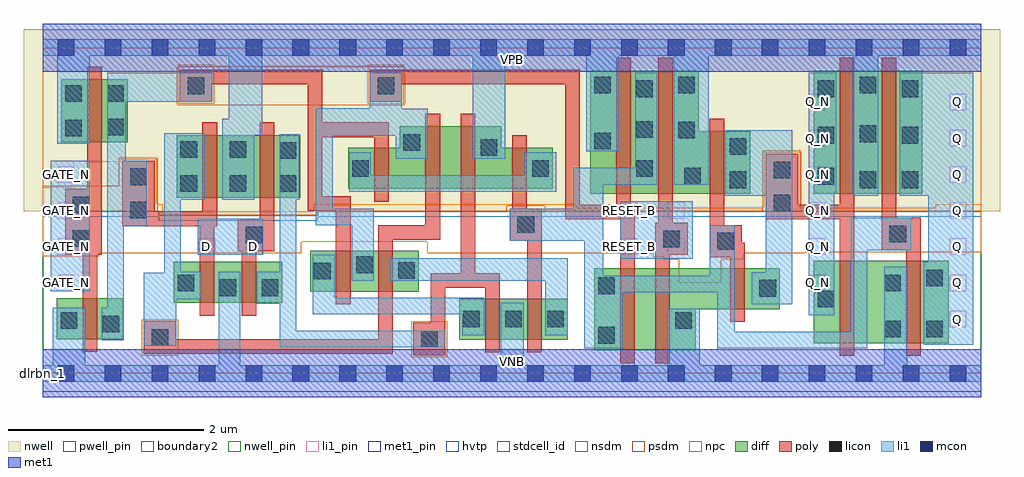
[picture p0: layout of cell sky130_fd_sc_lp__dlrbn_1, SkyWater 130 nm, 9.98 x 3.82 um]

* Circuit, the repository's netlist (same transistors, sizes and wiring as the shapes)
* Copyright 2020 The SkyWater PDK Authors
*
* Licensed under the Apache License, Version 2.0 (the "License");
* you may not use this file except in compliance with the License.
* You may obtain a copy of the License at
*
*     https://www.apache.org/licenses/LICENSE-2.0
*
* Unless required by applicable law or agreed to in writing, software
* distributed under the License is distributed on an "AS IS" BASIS,
* WITHOUT WARRANTIES OR CONDITIONS OF ANY KIND, either express or implied.
* See the License for the specific language governing permissions and
* limitations under the License.
*
* SPDX-License-Identifier: Apache-2.0

.SUBCKT sky130_fd_sc_lp__dlrbn_1 D GATE_N RESET_B VGND VNB VPB VPWR Q Q_N
*.PININFO D:I GATE_N:I RESET_B:I VGND:I VNB:I VPB:I VPWR:I Q:O Q_N:O
MI635 clkneg clkpos VPWR VPB sky130_fd_pr__pfet_01v8_hvt m=1 w=0.64U l=0.15U mult=1
+ sa=0.265 sb=0.265 sd=0.28 area=0.063 perim=1.14
MI648 Q_N net79 VPWR VPB sky130_fd_pr__pfet_01v8_hvt m=1 w=1.26U l=0.15U mult=1
+ sa=0.265 sb=0.265 sd=0.28 area=0.063 perim=1.14
MI17 M0 clkneg net51 VPB sky130_fd_pr__pfet_01v8_hvt m=1 w=0.64U l=0.15U mult=1
+ sa=0.265 sb=0.265 sd=0.28 area=0.063 perim=1.14
MI646 net79 m1 VPWR VPB sky130_fd_pr__pfet_01v8_hvt m=1 w=0.64U l=0.15U mult=1
+ sa=0.265 sb=0.265 sd=0.28 area=0.063 perim=1.14
MI650 Q m1 VPWR VPB sky130_fd_pr__pfet_01v8_hvt m=1 w=1.26U l=0.15U mult=1 sa=0.265
+ sb=0.265 sd=0.28 area=0.063 perim=1.14
MI633 clkpos GATE_N VPWR VPB sky130_fd_pr__pfet_01v8_hvt m=1 w=0.64U l=0.15U mult=1
+ sa=0.265 sb=0.265 sd=0.28 area=0.063 perim=1.14
MI658 m1 RESET_B VPWR VPB sky130_fd_pr__pfet_01v8_hvt m=1 w=1.26U l=0.15U mult=1
+ sa=0.265 sb=0.265 sd=0.28 area=0.063 perim=1.14
MI18 net51 db VPWR VPB sky130_fd_pr__pfet_01v8_hvt m=1 w=0.64U l=0.15U mult=1 sa=0.265
+ sb=0.265 sd=0.28 area=0.063 perim=1.14
MI653 net59 m1 VPWR VPB sky130_fd_pr__pfet_01v8_hvt m=1 w=0.42U l=0.15U mult=1
+ sa=0.265 sb=0.265 sd=0.28 area=0.063 perim=1.14
MI651 M0 clkpos net59 VPB sky130_fd_pr__pfet_01v8_hvt m=1 w=0.42U l=0.15U mult=1
+ sa=0.265 sb=0.265 sd=0.28 area=0.063 perim=1.14
MI655 m1 M0 VPWR VPB sky130_fd_pr__pfet_01v8_hvt m=1 w=1.26U l=0.15U mult=1 sa=0.265
+ sb=0.265 sd=0.28 area=0.063 perim=1.14
MI638 db D VPWR VPB sky130_fd_pr__pfet_01v8_hvt m=1 w=0.64U l=0.15U mult=1 sa=0.265
+ sb=0.265 sd=0.28 area=0.063 perim=1.14
MI634 clkpos GATE_N VGND VNB sky130_fd_pr__nfet_01v8 m=1 w=0.42U l=0.15U mult=1
+ sa=0.265 sb=0.265 sd=0.28 area=0.063 perim=1.14
MI647 Q_N net79 VGND VNB sky130_fd_pr__nfet_01v8 m=1 w=0.84U l=0.15U mult=1 sa=0.265
+ sb=0.265 sd=0.28 area=0.063 perim=1.14
MI649 Q m1 VGND VNB sky130_fd_pr__nfet_01v8 m=1 w=0.84U l=0.15U mult=1 sa=0.265
+ sb=0.265 sd=0.28 area=0.063 perim=1.14
MI645 net79 m1 VGND VNB sky130_fd_pr__nfet_01v8 m=1 w=0.42U l=0.15U mult=1 sa=0.265
+ sb=0.265 sd=0.28 area=0.063 perim=1.14
MI657 net86 RESET_B VGND VNB sky130_fd_pr__nfet_01v8 m=1 w=0.84U l=0.15U mult=1
+ sa=0.265 sb=0.265 sd=0.28 area=0.063 perim=1.14
MI652 M0 clkneg net102 VNB sky130_fd_pr__nfet_01v8 m=1 w=0.42U l=0.15U mult=1 sa=0.265
+ sb=0.265 sd=0.28 area=0.063 perim=1.14
MI654 net102 m1 VGND VNB sky130_fd_pr__nfet_01v8 m=1 w=0.42U l=0.15U mult=1 sa=0.265
+ sb=0.265 sd=0.28 area=0.063 perim=1.14
MI656 m1 M0 net86 VNB sky130_fd_pr__nfet_01v8 m=1 w=0.84U l=0.15U mult=1 sa=0.265
+ sb=0.265 sd=0.28 area=0.063 perim=1.14
MI636 clkneg clkpos VGND VNB sky130_fd_pr__nfet_01v8 m=1 w=0.42U l=0.15U mult=1
+ sa=0.265 sb=0.265 sd=0.28 area=0.063 perim=1.14
MI637 db D VGND VNB sky130_fd_pr__nfet_01v8 m=1 w=0.42U l=0.15U mult=1 sa=0.265
+ sb=0.265 sd=0.28 area=0.063 perim=1.14
MI19 M0 clkpos net98 VNB sky130_fd_pr__nfet_01v8 m=1 w=0.42U l=0.15U mult=1 sa=0.265
+ sb=0.265 sd=0.28 area=0.063 perim=1.14
MI20 net98 db VGND VNB sky130_fd_pr__nfet_01v8 m=1 w=0.42U l=0.15U mult=1 sa=0.265
+ sb=0.265 sd=0.28 area=0.063 perim=1.14
.ENDS sky130_fd_sc_lp__dlrbn_1

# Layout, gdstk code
import gdstk
lib = gdstk.Library(unit=1e-6, precision=1e-09)
def R(c, l, rs):  # rectangles x0, y0, x1, y1
    for r in rs: c.add(gdstk.rectangle(r[:2], r[2:], *l))
def A(c, l, x, y, w, h, nx, ny, dx, dy):  # array of equal rectangles
    R(c, l, [(x+i*dx, y+j*dy, x+i*dx+w, y+j*dy+h) for i in range(nx) for j in range(ny)])
def P(c, l, *ps):  # polygons
    for p in ps: c.add(gdstk.Polygon(p, *l))
nwell_pin = (64, 16)
nwell = (64, 20)
diff = (65, 20)
poly = (66, 20)
licon = (66, 44)
li1_pin = (67, 16)
li1 = (67, 20)
mcon = (67, 44)
met1_pin = (68, 16)
met1 = (68, 20)
hvtp = (78, 44)
stdcell_id = (81, 4)
nsdm = (93, 44)
psdm = (94, 20)
npc = (95, 20)
pwell_pin = (122, 16)
boundary2 = (236, 0)

sky130_fd_sc_lp__dlrbn_1 = lib.new_cell('sky130_fd_sc_lp__dlrbn_1')
R(sky130_fd_sc_lp__dlrbn_1, nwell_pin, [(0,3.085,9.6,3.33)])
P(sky130_fd_sc_lp__dlrbn_1, nwell, [(9.79,3.52),(-0.19,3.52),(-0.19,1.655),(1.19,1.655),(1.19,1.615),(2.815,1.615),(2.815,1.655),(9.79,1.655)])
R(sky130_fd_sc_lp__dlrbn_1, diff, [(7.885,0.31,9.265,1.15), (4.26,0.345,5.37,0.765), (0.145,0.35,0.825,0.77), (1.34,0.72,2.45,1.14), (2.735,0.835,3.845,1.255), (1.37,1.795,2.635,2.435), (7.885,1.835,8.995,3.095), (0.19,2.365,0.87,3.005)])
P(sky130_fd_sc_lp__dlrbn_1, diff, [(5.215,2.305),(4.69,2.305),(4.69,2.525),(3.65,2.525),(3.65,2.305),(3.125,2.305),(3.125,1.885),(5.215,1.885)],
  [(7.235,2.475),(6.71,2.475),(6.71,3.095),(5.6,3.095),(5.6,1.835),(7.235,1.835)],
  [(7.54,1.075),(5.64,1.075),(5.64,0.235),(6.68,0.235),(6.68,0.655),(7.54,0.655)])
P(sky130_fd_sc_lp__dlrbn_1, poly, [(0.605,3.135),(0.455,3.135),(0.455,1.885),(0.23,1.885),(0.23,1.215),(0.41,1.215),(0.41,0.22),(0.56,0.22),(0.56,1.215),(0.605,1.215)],
  [(1.785,2.565),(1.635,2.565),(1.635,1.655),(1.145,1.655),(1.145,2.175),(0.815,2.175),(0.815,1.505),(1.605,1.505),(1.605,0.59),(1.755,0.59),(1.755,1.505),(1.785,1.505)],
  [(2.37,2.565),(2.22,2.565),(2.22,1.58),(1.995,1.58),(1.995,1.25),(2.035,1.25),(2.035,0.59),(2.185,0.59),(2.185,1.25),(2.37,1.25)],
  [(3.54,2.565),(2.86,2.565),(2.86,3.105),(1.405,3.105),(1.405,2.775),(1.735,2.775),(1.735,2.955),(2.71,2.955),(2.71,1.66),(3,1.66),(3,0.705),(3.15,0.705),(3.15,1.81),(2.86,1.81),(2.86,2.415),(3.39,2.415),(3.39,1.755),(3.54,1.755)],
  [(4.065,2.655),(3.915,2.655),(3.915,1.515),(3.43,1.515),(3.43,0.35),(1.365,0.35),(1.365,0.53),(1.035,0.53),(1.035,0.2),(3.58,0.2),(3.58,1.365),(4.065,1.365)],
  [(4.675,1.025),(4.425,1.025),(4.425,2.655),(4.275,2.655),(4.275,1.025),(3.97,1.025),(3.97,0.515),(3.79,0.515),(3.79,0.185),(4.12,0.185),(4.12,0.875),(4.525,0.875),(4.525,0.215),(4.675,0.215)],
  [(5.105,1.685),(4.95,1.685),(4.95,2.435),(4.8,2.435),(4.8,1.685),(4.775,1.685),(4.775,1.355),(4.955,1.355),(4.955,0.215),(5.105,0.215)],
  [(6.055,1.725),(6.015,1.725),(6.015,3.225),(5.865,3.225),(5.865,1.725),(5.495,1.725),(5.495,3.105),(3.345,3.105),(3.345,2.775),(3.675,2.775),(3.675,2.955),(5.345,2.955),(5.345,1.575),(5.905,1.575),(5.905,0.105),(6.055,0.105)],
  [(6.595,1.54),(6.445,1.54),(6.445,3.225),(6.295,3.225),(6.295,1.54),(6.265,1.54),(6.265,0.105),(6.415,0.105),(6.415,1.21),(6.595,1.21)],
  [(7.18,1.335),(7.15,1.335),(7.15,1.515),(6.97,1.515),(6.97,2.605),(6.82,2.605),(6.82,1.185),(7.03,1.185),(7.03,0.525),(7.18,0.525)],
  [(8.3,3.225),(8.15,3.225),(8.15,1.725),(7.725,1.725),(7.725,2.245),(7.395,2.245),(7.395,1.575),(8.15,1.575),(8.15,0.18),(8.3,0.18)],
  [(8.98,1.59),(8.73,1.59),(8.73,3.225),(8.58,3.225),(8.58,1.26),(8.83,1.26),(8.83,0.18),(8.98,0.18)])
A(sky130_fd_sc_lp__dlrbn_1, licon, 4.3, 0.47, 0.17, 0.17, 3, 1, 0.43, 0)
R(sky130_fd_sc_lp__dlrbn_1, licon, [(3.87,0.265,4.04,0.435), (1.115,0.28,1.285,0.45), (5.68,0.305,5.85,0.475), (8.605,0.37,8.775,0.54), (9.035,0.37,9.205,0.54), (0.615,0.42,0.785,0.59), (0.185,0.455,0.355,0.625), (6.47,0.455,6.64,0.625), (7.925,0.675,8.095,0.845), (7.33,0.785,7.5,0.955), (1.81,0.79,1.98,0.96), (2.24,0.79,2.41,0.96), (5.68,0.81,5.85,0.98), (1.38,0.84,1.55,1.01), (8.605,0.84,8.775,1.01), (9.035,0.89,9.205,1.06), (2.775,0.96,2.945,1.13), (3.635,0.965,3.805,1.135), (3.205,1.025,3.375,1.195), (6.9,1.265,7.07,1.435), (6.345,1.29,6.515,1.46), (0.31,1.295,0.48,1.465), (2.075,1.33,2.245,1.5), (8.66,1.34,8.83,1.51), (4.855,1.435,5.025,1.605), (0.895,1.585,1.065,1.755), (0.31,1.635,0.48,1.805), (7.475,1.655,7.645,1.825), (1.41,1.855,1.58,2.025), (1.915,1.855,2.085,2.025), (2.425,1.855,2.595,2.025), (7.025,1.895,7.195,2.065), (8.355,1.895,8.525,2.065), (8.785,1.895,8.955,2.065), (0.895,1.925,1.065,2.095), (6.56,1.93,6.73,2.1), (7.925,1.93,8.095,2.1), (7.475,1.995,7.645,2.165), (3.165,2.01,3.335,2.18), (5.005,2.01,5.175,2.18), (6.07,2.01,6.24,2.18), (2.425,2.195,2.595,2.365), (1.41,2.205,1.58,2.375), (1.915,2.205,2.085,2.375), (4.48,2.225,4.65,2.395), (7.025,2.235,7.195,2.405), (3.69,2.275,3.86,2.445), (5.64,2.29,5.81,2.46), (7.925,2.35,8.095,2.52), (8.785,2.35,8.955,2.52), (8.355,2.365,8.525,2.535), (6.5,2.405,6.67,2.575), (6.07,2.41,6.24,2.58), (0.23,2.425,0.4,2.595), (0.66,2.435,0.83,2.605), (0.23,2.775,0.4,2.945), (0.66,2.775,0.83,2.945), (6.07,2.825,6.24,2.995), (7.925,2.825,8.095,2.995), (8.785,2.825,8.955,2.995), (1.485,2.855,1.655,3.025), (3.425,2.855,3.595,3.025), (5.64,2.865,5.81,3.035), (6.5,2.865,6.67,3.035), (8.355,2.865,8.525,3.035)])
A(sky130_fd_sc_lp__dlrbn_1, li1_pin, 0.155, 0.84, 0.17, 0.17, 1, 4, 0, 0.37)
A(sky130_fd_sc_lp__dlrbn_1, li1_pin, 6.395, 1.21, 0.17, 0.17, 3, 2, 1.44, 0.37)
A(sky130_fd_sc_lp__dlrbn_1, li1_pin, 7.835, 1.95, 0.17, 0.17, 1, 3, 0, 0.37)
A(sky130_fd_sc_lp__dlrbn_1, li1_pin, 9.275, 1.95, 0.17, 0.17, 1, 3, 0, 0.37)
R(sky130_fd_sc_lp__dlrbn_1, li1_pin, [(9.275,0.47,9.445,0.64), (7.835,0.84,8.005,1.01), (9.275,0.84,9.445,1.01), (1.595,1.21,1.765,1.38), (2.075,1.21,2.245,1.38), (5.915,1.21,6.085,1.38), (5.915,1.58,6.085,1.75)])
R(sky130_fd_sc_lp__dlrbn_1, li1, [(0.085,0.84,0.48,2.175), (5.905,1.17,6.65,1.76), (1.585,1.21,2.255,1.58)])
P(sky130_fd_sc_lp__dlrbn_1, li1, [(0.85,2.775),(0.85,2.175),(1.065,2.175),(1.065,1.505),(0.83,1.505),(0.83,0.34),(0.605,0.34),(0.605,0.67),(0.66,0.67),(0.66,3.075),(1.735,3.075),(1.735,2.775)],
  [(3.345,2.71),(3.345,3.075),(3.675,3.075),(3.675,2.705),(3.94,2.705),(3.94,2.195),(3.61,2.195),(3.61,2.43),(2.965,2.43),(2.965,1.685),(3.385,1.685),(3.385,0.945),(3.16,0.945),(3.16,1.515),(2.795,1.515),(2.795,2.71)],
  [(1.035,1.03),(1.245,1.03),(1.245,2.455),(1.66,2.455),(1.66,1.775),(1.415,1.775),(1.415,1.04),(1.63,1.04),(1.63,0.76),(1.365,0.76),(1.365,0.28),(1.035,0.28)],
  [(8.605,0.085),(8.605,1.09),(8.84,1.09),(8.84,0.085),(9.6,0.085),(9.6,-0.085),(0,-0.085),(0,0.085),(0.105,0.085),(0.105,0.67),(0.435,0.67),(0.435,0.085),(1.8,0.085),(1.8,1.04),(2.02,1.04),(2.02,0.085),(4.685,0.085),(4.685,0.72),(4.92,0.72),(4.92,0.085),(6.39,0.085),(6.39,0.66),(6.72,0.66),(6.72,0.085)],
  [(5.54,0.255),(5.54,1.355),(4.775,1.355),(4.775,1.685),(5.425,1.685),(5.425,2.1),(6.06,2.1),(6.06,3.075),(6.285,3.075),(6.285,1.93),(5.735,1.93),(5.735,1),(6.82,1),(6.82,1.515),(7.08,1.515),(7.08,0.425),(8.265,0.425),(8.265,1.59),(8.885,1.59),(8.885,1.26),(8.435,1.26),(8.435,0.255),(6.9,0.255),(6.9,0.83),(5.93,0.83),(5.93,0.255)],
  [(9.515,3.075),(9.515,0.29),(9.01,0.29),(9.01,1.14),(9.055,1.14),(9.055,1.815),(8.765,1.815),(8.765,3.075)],
  [(7.835,0.595),(7.835,3.075),(8.115,3.075),(8.115,1.85),(8.095,1.85),(8.095,0.595)],
  [(7.665,2.485),(7.665,0.705),(7.25,0.705),(7.25,1.035),(7.395,1.035),(7.395,1.815),(6.98,1.815),(6.98,2.485)],
  [(3.355,2.025),(4.925,2.025),(4.925,2.26),(5.255,2.26),(5.255,1.855),(3.135,1.855),(3.135,2.26),(3.355,2.26)],
  [(2.425,0.71),(2.19,0.71),(2.19,1.04),(2.425,1.04),(2.425,2.445),(2.625,2.445),(2.625,1.775),(2.595,1.775),(2.595,0.435),(4.12,0.435),(4.12,0.265),(2.425,0.265)],
  [(5.14,0.945),(3.555,0.945),(3.555,1.175),(5.37,1.175),(5.37,0.39),(5.14,0.39)],
  [(2.99,0.775),(4.515,0.775),(4.515,0.39),(4.29,0.39),(4.29,0.605),(2.765,0.605),(2.765,1.21),(2.99,1.21)],
  [(9.6,3.415),(0,3.415),(0,3.245),(0.15,3.245),(0.15,2.345),(0.48,2.345),(0.48,3.245),(1.905,3.245),(1.905,2.605),(1.835,2.605),(1.835,1.775),(2.165,1.775),(2.165,2.435),(2.245,2.435),(2.245,3.245),(4.4,3.245),(4.4,2.195),(4.73,2.195),(4.73,3.245),(5.56,3.245),(5.56,2.27),(5.89,2.27),(5.89,3.245),(6.455,3.245),(6.455,1.93),(6.81,1.93),(6.81,3.245),(8.285,3.245),(8.285,1.815),(8.545,1.815),(8.545,3.245),(9.6,3.245)])
A(sky130_fd_sc_lp__dlrbn_1, mcon, 0.155, -0.085, 0.17, 0.17, 20, 2, 0.48, 3.33)
R(sky130_fd_sc_lp__dlrbn_1, met1_pin, [(0,0,9.6,0.245), (0,3.085,9.6,3.33)])
R(sky130_fd_sc_lp__dlrbn_1, met1, [(0,-0.245,9.6,0.245), (0,3.085,9.6,3.575)])
P(sky130_fd_sc_lp__dlrbn_1, hvtp, [(9.6,3.33),(0,3.33),(0,1.6),(1.19,1.6),(1.19,1.56),(2.815,1.56),(2.815,1.6),(9.6,1.6)])
R(sky130_fd_sc_lp__dlrbn_1, stdcell_id, [(0,0,9.6,3.33)])
P(sky130_fd_sc_lp__dlrbn_1, nsdm, [(9.6,1.655),(2.815,1.655),(2.815,1.615),(1.19,1.615),(1.19,1.655),(0,1.655),(0,-0.19),(9.6,-0.19)])
P(sky130_fd_sc_lp__dlrbn_1, psdm, [(9.6,3.52),(3.705,3.52),(3.705,2.745),(1.375,2.745),(1.375,3.135),(3.705,3.135),(3.705,3.52),(0,3.52),(0,1.915),(0.785,1.915),(0.785,2.205),(1.175,2.205),(1.175,1.655),(1.19,1.655),(1.19,1.615),(2.815,1.615),(2.815,1.655),(4.745,1.655),(4.745,1.715),(5.135,1.715),(5.135,1.655),(7.365,1.655),(7.365,2.275),(7.755,2.275),(7.755,1.655),(9.6,1.655)])
R(sky130_fd_sc_lp__dlrbn_1, npc, [(3.77,0.165,4.14,0.535), (1.015,0.18,1.385,0.55), (1.385,2.755,1.755,3.155), (3.325,2.755,3.695,3.155)])
P(sky130_fd_sc_lp__dlrbn_1, npc, [(9.6,1.73),(9.135,1.73),(9.135,1.695),(7.745,1.695),(7.745,2.265),(7.375,2.265),(7.375,1.695),(5.46,1.695),(5.46,1.73),(2.775,1.73),(2.775,1.655),(1.23,1.655),(1.23,1.73),(1.165,1.73),(1.165,2.195),(0.795,2.195),(0.795,2.17),(0.315,2.17),(0.315,1.905),(0,1.905),(0,1.195),(0.58,1.195),(0.58,1.23),(2.645,1.23),(2.645,1.345),(3.935,1.345),(3.935,1.23),(6.245,1.23),(6.245,1.19),(6.35,1.19),(6.35,1.165),(6.505,1.165),(6.505,0.925),(6.94,0.925),(6.94,1.165),(7.17,1.165),(7.17,1.23),(7.795,1.23),(7.795,1.24),(9.6,1.24)])
R(sky130_fd_sc_lp__dlrbn_1, pwell_pin, [(0,0,9.6,0.245)])
R(sky130_fd_sc_lp__dlrbn_1, boundary2, [(0,0,9.6,3.33)])
sky130_fd_sc_lp__dlrbn_1.add(gdstk.Label('VNB', (4.8,0.123), layer=64, texttype=59))
sky130_fd_sc_lp__dlrbn_1.add(gdstk.Label('VPB', (4.8,3.208), layer=64, texttype=5))
sky130_fd_sc_lp__dlrbn_1.add(gdstk.Label('dlrbn_1', (0,0), layer=83, texttype=44))
sky130_fd_sc_lp__dlrbn_1.add(gdstk.Label('VPWR', (4.8,3.208), layer=68, texttype=5))
sky130_fd_sc_lp__dlrbn_1.add(gdstk.Label('VGND', (4.8,0.123), layer=68, texttype=5))
sky130_fd_sc_lp__dlrbn_1.add(gdstk.Label('D', (1.68,1.295), layer=67, texttype=5))
sky130_fd_sc_lp__dlrbn_1.add(gdstk.Label('D', (2.16,1.295), layer=67, texttype=5))
sky130_fd_sc_lp__dlrbn_1.add(gdstk.Label('GATE_N', (0.24,0.925), layer=67, texttype=5))
sky130_fd_sc_lp__dlrbn_1.add(gdstk.Label('GATE_N', (0.24,1.295), layer=67, texttype=5))
sky130_fd_sc_lp__dlrbn_1.add(gdstk.Label('GATE_N', (0.24,1.665), layer=67, texttype=5))
sky130_fd_sc_lp__dlrbn_1.add(gdstk.Label('GATE_N', (0.24,2.035), layer=67, texttype=5))
sky130_fd_sc_lp__dlrbn_1.add(gdstk.Label('RESET_B', (6,1.295), layer=67, texttype=5))
sky130_fd_sc_lp__dlrbn_1.add(gdstk.Label('RESET_B', (6,1.665), layer=67, texttype=5))
sky130_fd_sc_lp__dlrbn_1.add(gdstk.Label('RESET_B', (6.48,1.295), layer=67, texttype=5))
sky130_fd_sc_lp__dlrbn_1.add(gdstk.Label('RESET_B', (6.48,1.665), layer=67, texttype=5))
sky130_fd_sc_lp__dlrbn_1.add(gdstk.Label('Q', (9.36,0.555), layer=67, texttype=5))
sky130_fd_sc_lp__dlrbn_1.add(gdstk.Label('Q', (9.36,0.925), layer=67, texttype=5))
sky130_fd_sc_lp__dlrbn_1.add(gdstk.Label('Q', (9.36,1.295), layer=67, texttype=5))
sky130_fd_sc_lp__dlrbn_1.add(gdstk.Label('Q', (9.36,1.665), layer=67, texttype=5))
sky130_fd_sc_lp__dlrbn_1.add(gdstk.Label('Q', (9.36,2.035), layer=67, texttype=5))
sky130_fd_sc_lp__dlrbn_1.add(gdstk.Label('Q', (9.36,2.405), layer=67, texttype=5))
sky130_fd_sc_lp__dlrbn_1.add(gdstk.Label('Q', (9.36,2.775), layer=67, texttype=5))
sky130_fd_sc_lp__dlrbn_1.add(gdstk.Label('Q_N', (7.92,0.925), layer=67, texttype=5))
sky130_fd_sc_lp__dlrbn_1.add(gdstk.Label('Q_N', (7.92,1.295), layer=67, texttype=5))
sky130_fd_sc_lp__dlrbn_1.add(gdstk.Label('Q_N', (7.92,1.665), layer=67, texttype=5))
sky130_fd_sc_lp__dlrbn_1.add(gdstk.Label('Q_N', (7.92,2.035), layer=67, texttype=5))
sky130_fd_sc_lp__dlrbn_1.add(gdstk.Label('Q_N', (7.92,2.405), layer=67, texttype=5))
sky130_fd_sc_lp__dlrbn_1.add(gdstk.Label('Q_N', (7.92,2.775), layer=67, texttype=5))

lib.write_gds('sky130_fd_sc_lp__dlrbn_1.gds')
